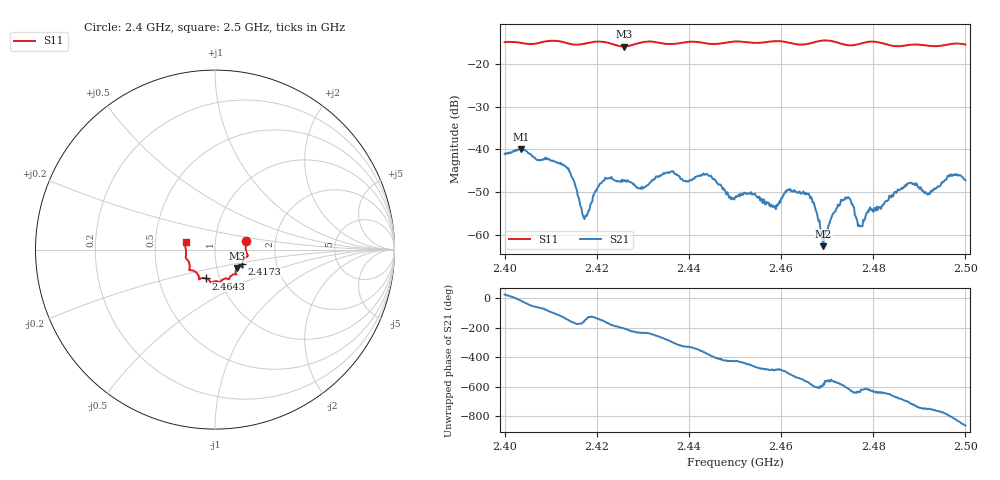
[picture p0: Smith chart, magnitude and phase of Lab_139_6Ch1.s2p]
# Hz S RI R 50
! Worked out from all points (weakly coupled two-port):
!   601 points, 2.4 GHz to 2.5 GHz, reference 50 ohm
!   highest |S21| = -39.92 dB at 2.4035 GHz (marker M1); lowest = -62.7 dB at 2.4692 GHz (marker M2)
!   lowest |S11| = -15.9 dB at 2.4258 GHz (marker M3), VSWR 1.38, Z = 62.3 - j13.3 ohm
!   |S11| at or under -10 dB: start of sweep to end of sweep
!   S12 and S22 are empty: the file has one direction only
!   S11 on the Smith chart (normalised r, x): 2.4 GHz: 1.41, +0.14; 2.4173 GHz: 1.34, -0.23; 2.4643 GHz: 0.86, -0.29; 2.5 GHz: 0.72, +0.06
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2.4e9  0.1731 0.0489  0.00791 0.00398  0 0  0 0
2.4035e9  0.1739 0.0304  0.00978 -0.00246  0 0  0 0
2.413333e9  0.1712 -0.0428  -0.00477 -0.00415  0 0  0 0
2.416667e9  0.1527 -0.0742  -0.00202 -0.000308  0 0  0 0
2.417333e9  0.1519 -0.0817  -0.00135 -0.000717  0 0  0 0
2.421333e9  0.1537 -0.0965  -0.00369 -0.00209  0 0  0 0
2.425833e9  0.1217 -0.1037  -0.004 0.00173  0 0  0 0
2.433333e9  0.1126 -0.1372  -0.000906 0.00465  0 0  0 0
2.444167e9  0.0621 -0.1609  0.00466 -0.0018  0 0  0 0
2.45e9  0.0287 -0.181  0.000997 -0.00252  0 0  0 0
2.458667e9  -0.0214 -0.1835  -0.00136 -0.00167  0 0  0 0
2.464333e9  -0.05 -0.1608  -0.00299 0.000431  0 0  0 0
2.466667e9  -0.076 -0.1591  -0.00176 0.00199  0 0  0 0
2.469167e9  -0.0881 -0.166  -0.000548 0.000493  0 0  0 0
2.4735e9  -0.094 -0.1414  -0.00152 0.00202  0 0  0 0
2.475e9  -0.1061 -0.1263  -0.000132 0.0026  0 0  0 0
2.477167e9  -0.128 -0.1159  0.000144 0.00126  0 0  0 0
2.483333e9  -0.1405 -0.0898  0.000925 0.00239  0 0  0 0
2.487833e9  -0.1593 -0.0511  0.00396 0.000662  0 0  0 0
2.491833e9  -0.1615 -0.0273  0.00245 -0.00165  0 0  0 0
2.496667e9  -0.1689 0.025  0.000626 -0.00505  0 0  0 0
2.5e9  -0.1634 0.0424  -0.00358 -0.00246  0 0  0 0
